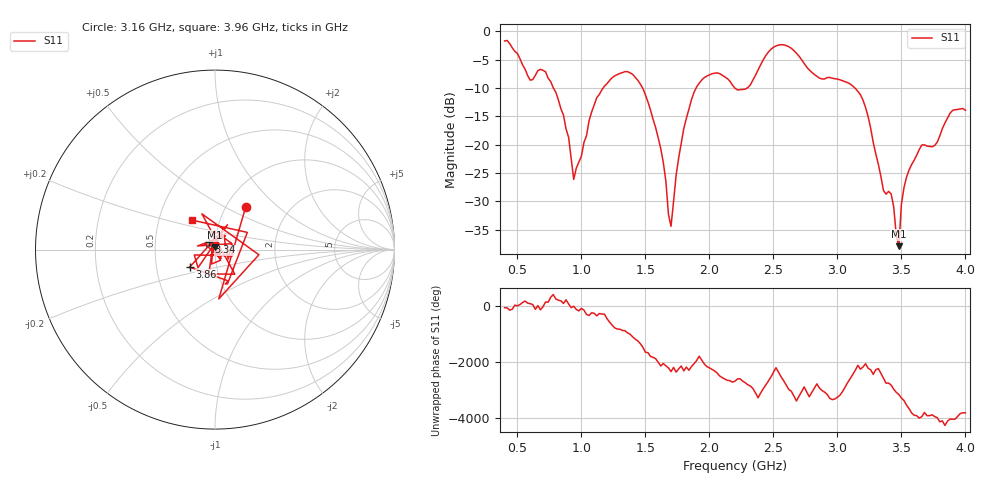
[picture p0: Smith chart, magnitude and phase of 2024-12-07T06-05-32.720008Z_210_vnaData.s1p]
!Created with skrf (http://scikit-rf.org).
# Hz S RI R 50.0
!freq ReS11 ImS11
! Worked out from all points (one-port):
!   181 points, 400 MHz to 4 GHz, reference 50 ohm
!   lowest |S11| = -37.9 dB at 3.48 GHz (marker M1), VSWR 1.03, Z = 50 + j1.27 ohm
!   |S11| at or under -10 dB: 780.9 MHz to 1.17 GHz (389.6 MHz wide, 39.9 % of centre); 1.478 GHz to 1.897 GHz (418.7 MHz wide, 24.8 % of centre); 3.136 GHz to end of sweep (the widest 3 of 4)
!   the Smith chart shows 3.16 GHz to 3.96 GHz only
!   S11 on the Smith chart (normalised r, x): 3.16 GHz: 1.23, +0.64; 3.34 GHz: 0.93, +0.08; 3.86 GHz: 0.74, -0.15; 3.96 GHz: 0.74, +0.25
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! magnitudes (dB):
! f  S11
! 400 MHz  -1.7
! 600 MHz  -8.6
! 720 MHz  -7.2
! 860 MHz  -14.8
! 940 MHz  -26.2
! 1.12 GHz  -11.7
! 1.3 GHz  -7.4
! 1.52 GHz  -12.5
! 1.62 GHz  -20.7
! 1.7 GHz  -34.4
! 1.76 GHz  -22.4
! 1.86 GHz  -12.1
! 1.94 GHz  -8.6
! 2.2 GHz  -10.1
! 2.32 GHz  -9.5
! 2.5 GHz  -2.8
! 2.66 GHz  -3.4
! 3.1 GHz  -9.3
! 3.16 GHz  -10.6
! 3.24 GHz  -15.1
! 3.34 GHz  -25.7
! 3.42 GHz  -28.7
! 3.48 GHz  -37.9
! 3.5 GHz  -30.6
! 3.56 GHz  -24.5
! 3.86 GHz  -15.3
! 3.96 GHz  -13.7
! 4 GHz  -13.9
